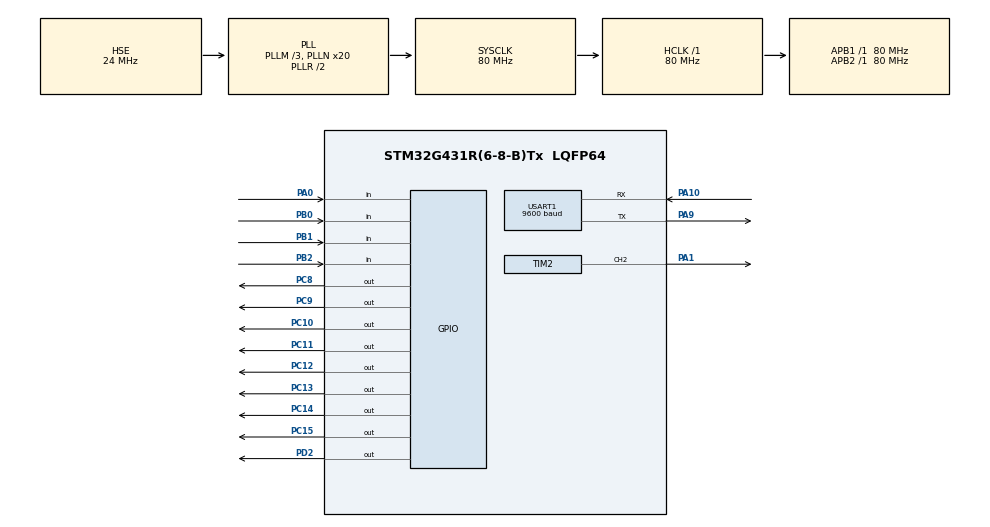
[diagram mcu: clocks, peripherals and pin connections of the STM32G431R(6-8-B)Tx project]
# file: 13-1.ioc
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Mcu.Family=STM32G4
Mcu.Name=STM32G431R(6-8-B)Tx
Mcu.Package=LQFP64
NVIC.PriorityGroup=NVIC_PRIORITYGROUP_4
NVIC.USART1_IRQn=true\:0\:0\:false\:false\:true\:true\:true\:true
PA0.GPIO_PuPd=GPIO_PULLUP
PA0.Signal=GPIO_Input
PA1.Signal=S_TIM2_CH2
PA10.Mode=Asynchronous
PA10.Signal=USART1_RX
PA13.Mode=Serial_Wire
PA13.Signal=SYS_JTMS-SWDIO
PA14.Mode=Serial_Wire
PA14.Signal=SYS_JTCK-SWCLK
PA9.Mode=Asynchronous
PA9.Signal=USART1_TX
PB0.GPIO_PuPd=GPIO_PULLUP
PB0.Signal=GPIO_Input
PB1.GPIO_PuPd=GPIO_PULLUP
PB1.Signal=GPIO_Input
PB2.GPIO_PuPd=GPIO_PULLUP
PB2.Signal=GPIO_Input
PC10.PinState=GPIO_PIN_SET
PC10.Signal=GPIO_Output
PC11.PinState=GPIO_PIN_SET
PC11.Signal=GPIO_Output
PC12.PinState=GPIO_PIN_SET
PC12.Signal=GPIO_Output
PC13.PinState=GPIO_PIN_SET
PC13.Signal=GPIO_Output
PC14-OSC32_IN.PinState=GPIO_PIN_SET
PC14-OSC32_IN.Signal=GPIO_Output
PC15-OSC32_OUT.PinState=GPIO_PIN_SET
PC15-OSC32_OUT.Signal=GPIO_Output
PC8.PinState=GPIO_PIN_SET
PC8.Signal=GPIO_Output
PC9.PinState=GPIO_PIN_SET
PC9.Signal=GPIO_Output
PD2.PinState=GPIO_PIN_SET
PD2.Signal=GPIO_Output
PF0-OSC_IN.Mode=HSE-External-Oscillator
PF0-OSC_IN.Signal=RCC_OSC_IN
PF1-OSC_OUT.Mode=HSE-External-Oscillator
PF1-OSC_OUT.Signal=RCC_OSC_OUT
ProjectManager.HeapSize=0x200
ProjectManager.StackSize=0x400
ProjectManager.TargetToolchain=MDK-ARM V5.32
RCC.ADC12Freq_Value=80000000
RCC.AHBFreq_Value=80000000
RCC.APB1Freq_Value=80000000
RCC.APB1TimFreq_Value=80000000
RCC.APB2Freq_Value=80000000
RCC.APB2TimFreq_Value=80000000
RCC.CortexFreq_Value=80000000
RCC.EXTERNAL_CLOCK_VALUE=12288000
RCC.HCLKFreq_Value=80000000
RCC.HSE_VALUE=24000000
RCC.HSI48_VALUE=48000000
RCC.HSI_VALUE=16000000
RCC.LSE_VALUE=32768
RCC.PLLM=RCC_PLLM_DIV3
RCC.PLLN=20
RCC.PLLSourceVirtual=RCC_PLLSOURCE_HSE
RCC.SYSCLKFreq_VALUE=80000000
RCC.SYSCLKSource=RCC_SYSCLKSOURCE_PLLCLK
RCC.USBFreq_Value=80000000
RCC.VCOOutputFreq_Value=160000000
SH.S_TIM2_CH2.0=TIM2_CH2,PWM Generation2 CH2
TIM2.Channel-PWM\ Generation2\ CH2=TIM_CHANNEL_2
TIM2.PeriodNoDither=99
TIM2.Prescaler=799
TIM4.Prescaler=7999
USART1.BaudRate=9600
USART1.VirtualMode-Asynchronous=VM_ASYNC
VP_SYS_VS_DBSignals.Mode=DisableDeadBatterySignals
VP_TIM4_VS_ClockSourceINT.Mode=Internal
board=custom

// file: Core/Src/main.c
/* USER CODE BEGIN Header */
/**
  ******************************************************************************
  * @file           : main.c
  * @brief          : Main program body
  ******************************************************************************
  * @attention
  *
  * Copyright (c) 2026 STMicroelectronics.
  * All rights reserved.
  *
  * This software is licensed under terms that can be found in the LICENSE file
  * in the root directory of this software component.
  * If no LICENSE file comes with this software, it is provided AS-IS.
  *
  ******************************************************************************
  */
/* USER CODE END Header */
#include "main.h"
#include "tim.h"
#include "usart.h"
#include "gpio.h"

/* USER CODE BEGIN Includes */
#include "fun.h"
/* USER CODE END Includes */

void SystemClock_Config(void);

int main(void)
{

  /* MCU Configuration--------------------------------------------------------*/

  /* Reset of all peripherals, Initializes the Flash interface and the Systick. */
  HAL_Init();

  /* Configure the system clock */
  SystemClock_Config();

  /* Initialize all configured peripherals */
  MX_GPIO_Init();
  MX_TIM2_Init();
  MX_USART1_UART_Init();
  MX_TIM4_Init();
  /* USER CODE BEGIN 2 */
	led_Disp(0x00);
	LCD_Init();

HAL_UART_Receive_IT(&huart1,&rx_data,1);
HAL_TIM_Base_Start(&htim4);
HAL_TIM_PWM_Start(&htim2,TIM_CHANNEL_2);
TIM2->PSC = 80000000/(1000*100);
TIM2->CCR2 = (TIM2->ARR + 1) * (50 / 100.0f);

  LCD_SetBackColor(Black);
  LCD_SetTextColor(White);
	LCD_Clear(Black);
  /* USER CODE END 2 */

  /* Infinite loop */
  /* USER CODE BEGIN WHILE */
  while (1)
  {
		key_scan();
		led_start();
		uart_data_rec();
		lcd_show();

    /* USER CODE END WHILE */

  }
}

void SystemClock_Config(void)
{
  RCC_OscInitTypeDef RCC_OscInitStruct = {0};
  RCC_ClkInitTypeDef RCC_ClkInitStruct = {0};

  /** Configure the main internal regulator output voltage
  */
  HAL_PWREx_ControlVoltageScaling(PWR_REGULATOR_VOLTAGE_SCALE1);

  /** Initializes the RCC Oscillators according to the specified parameters
  * in the RCC_OscInitTypeDef structure.
  */
  RCC_OscInitStruct.OscillatorType = RCC_OSCILLATORTYPE_HSE;
  RCC_OscInitStruct.HSEState = RCC_HSE_ON;
  RCC_OscInitStruct.PLL.PLLState = RCC_PLL_ON;
  RCC_OscInitStruct.PLL.PLLSource = RCC_PLLSOURCE_HSE;
  RCC_OscInitStruct.PLL.PLLM = RCC_PLLM_DIV3;
  RCC_OscInitStruct.PLL.PLLN = 20;
  RCC_OscInitStruct.PLL.PLLP = RCC_PLLP_DIV2;
  RCC_OscInitStruct.PLL.PLLQ = RCC_PLLQ_DIV2;
  RCC_OscInitStruct.PLL.PLLR = RCC_PLLR_DIV2;
  if (HAL_RCC_OscConfig(&RCC_OscInitStruct) != HAL_OK)
  {
    Error_Handler();
  }

  /** Initializes the CPU, AHB and APB buses clocks
  */
  RCC_ClkInitStruct.ClockType = RCC_CLOCKTYPE_HCLK|RCC_CLOCKTYPE_SYSCLK
                              |RCC_CLOCKTYPE_PCLK1|RCC_CLOCKTYPE_PCLK2;
  RCC_ClkInitStruct.SYSCLKSource = RCC_SYSCLKSOURCE_PLLCLK;
  RCC_ClkInitStruct.AHBCLKDivider = RCC_SYSCLK_DIV1;
  RCC_ClkInitStruct.APB1CLKDivider = RCC_HCLK_DIV1;
  RCC_ClkInitStruct.APB2CLKDivider = RCC_HCLK_DIV1;

  if (HAL_RCC_ClockConfig(&RCC_ClkInitStruct, FLASH_LATENCY_2) != HAL_OK)
  {
    Error_Handler();
  }
}

void Error_Handler(void)
{
  __disable_irq();
  while (1)
  {
  }
}
